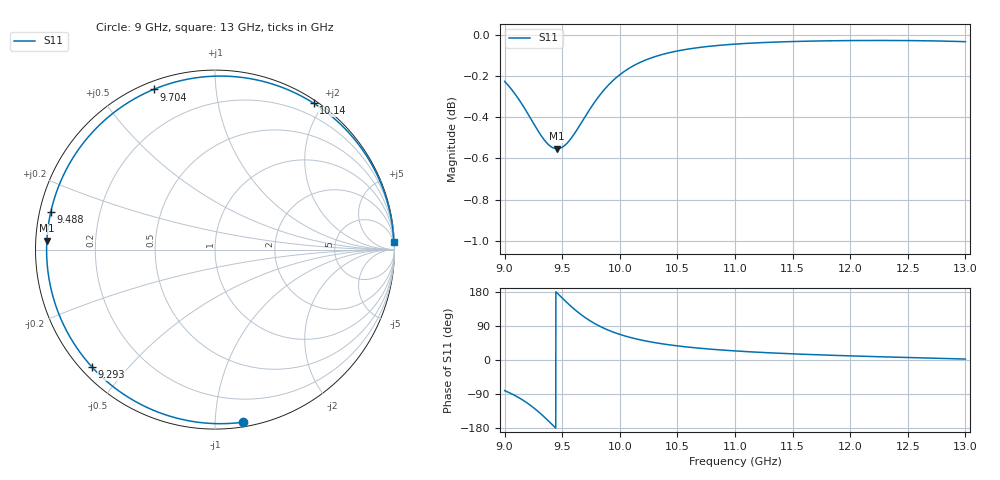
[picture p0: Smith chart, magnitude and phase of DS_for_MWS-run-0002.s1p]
! TOUCHSTONE file generated by CST DESIGN STUDIO
! Date and time: Tue Feb  4 15:49:46 2025
! Project name: C:\Work\MatlabApps\UnitCellOptimizationMatlab\CST\unitcell.cst
! Tree item: Tasks\Sweep1\SPara1\S-Parameters
! Header version: 2024
! Port assignment regex: !\s*Touchstone port\s*([0-9]+)\s*=\s*(CST MWS port|CST DES external port|CST DES block port)\s*(.+)\s* \(\"(.*)\"\)(\s*mode\s*([0-9]+))?.*
! Touchstone port assignment:
! Touchstone port 1 = CST DES external port 1 ("")
# GHz S MA R 50
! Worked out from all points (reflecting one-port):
!   4001 points, 9 GHz to 13 GHz, reference 50 ohm
!   lowest |S11| = -0.6 dB at 9.455 GHz (marker M1), VSWR 31.41, Z = 1.59 + j1.33 ohm
!   phase of S11 starts at -81 deg and turns -277 deg over the sweep
!   S11 on the Smith chart (normalised r, x): 9 GHz: 0.03, -1.18; 9.293 GHz: 0.03, -0.40; 9.488 GHz: 0.03, +0.11; 9.704 GHz: 0.03, +0.69; 10.14 GHz: 0.04, +1.88; 13 GHz: 4, +46
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9  0.9743 -80.7
9.091  0.9675 -93.9
9.164  0.9607 -106.9
9.23  0.9539 -120.9
9.293  0.9475 -136.4
9.335  0.9437 -147.7
9.38  0.9405 -160.6
9.418  0.9388 -171.9
9.455  0.9383 177.0
9.488  0.9387 167.0
9.5  0.9391 163.4
9.548  0.9416 149.5
9.603  0.946 134.6
9.652  0.9506 122.5
9.704  0.9558 111.0
9.761  0.9613 99.9
9.826  0.9669 89.1
9.911  0.973 77.4
10  0.978 67.6
10.136  0.9835 56.1
10.3  0.9878 46.0
10.5  0.9911 37.2
10.723  0.9933 30.2
11  0.9949 24.0
11.5  0.9963 16.3
12  0.9969 10.9
12.5  0.9969 6.5
13  0.9962 2.5
